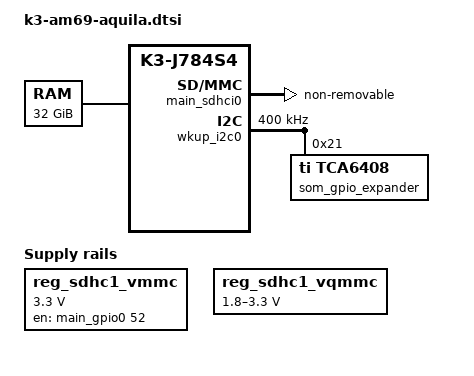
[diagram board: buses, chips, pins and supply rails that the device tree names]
// SPDX-License-Identifier: GPL-2.0-or-later OR MIT
/*
 * Copyright 2024 Toradex
 *
 * Common dtsi for Toradex Aquila AM69 SoM
 *
 * https://www.toradex.com/computer-on-modules/aquila-arm-family/ti-am69
 */

#include <dt-bindings/net/ti-dp83867.h>
#include <dt-bindings/gpio/gpio.h>
#include "k3-j784s4.dtsi"

/ {
	chosen {
		stdout-path = "serial2:115200n8";
	};

	aliases {
		mmc0 = &main_sdhci0;
		mmc1 = &main_sdhci1;
		serial2 = &main_uart8;
	};

	memory@80000000 {
		device_type = "memory";
		/* 32G RAM */
		reg = <0x00 0x80000000 0x00 0x80000000>,
		      <0x08 0x80000000 0x07 0x80000000>;
		bootph-pre-ram;
	};

	reserved_memory: reserved-memory {
		#address-cells = <2>;
		#size-cells = <2>;
		ranges;

		/* global cma region */
		linux,cma {
			compatible = "shared-dma-pool";
			reusable;
			size = <0x00 0x70000000>;
			linux,cma-default;
		};

		secure_ddr: optee@9e800000 {
			reg = <0x00 0x9e800000 0x00 0x01800000>;
			no-map;
		};
	};

	/* Aquila SD_1_PWR_EN */
	reg_sdhc1_vmmc: regulator-sdhci1 {
		compatible = "regulator-fixed";
		pinctrl-names = "default";
		pinctrl-0 = <&pinctrl_sd1_pwr_en>;
		enable-active-high;
		/* Aquila SD_1_PWR_EN (AQUILA A6) */
		gpio = <&main_gpio0 52 GPIO_ACTIVE_HIGH>;
		off-on-delay-us = <100000>;
		regulator-max-microvolt = <3300000>;
		regulator-min-microvolt = <3300000>;
		regulator-name = "+3V3_SD";
		startup-delay-us = <5000>;
	};

	reg_sdhc1_vqmmc: regulator-sdhci1-vqmmc {
		compatible = "regulator-gpio";
		/* SDIO_PWR_SEL_3.3V */
		gpios = <&som_gpio_expander 7 GPIO_ACTIVE_HIGH>;
		regulator-name = "+VDD_SD_DV";
		regulator-min-microvolt = <1800000>;
		regulator-max-microvolt = <3300000>;
		states = <1800000 0x0>,
			 <3300000 0x1>;
	};
};

&main_pmx0 {
	/* Aquila SD_1_PWR_EN */
	pinctrl_sd1_pwr_en: main-gpio0-52-default-pins {
		pinctrl-single,pins = <
			J784S4_IOPAD(0x0d0, PIN_INPUT, 7) /* (AP38) SPI0_CS1.GPIO0_52 */ /* AQUILA A6 */
		>;
	};

	/* Aquila SD_1 */
	pinctrl_main_mmc1: main-mmc1-default-pins {
		pinctrl-single,pins = <
			J784S4_IOPAD(0x104, PIN_INPUT, 0) /* (AB38) MMC1_CLK  */ /* AQUILA A6 */
			J784S4_IOPAD(0x108, PIN_INPUT, 0) /* (AB36) MMC1_CMD  */ /* AQUILA A4 */
			J784S4_IOPAD(0x100, PIN_INPUT, 0) /* (No Pin) MMC1_CLKLB */
			J784S4_IOPAD(0x0fc, PIN_INPUT, 0) /* (AA33) MMC1_DAT0 */ /* AQUILA A8 */
			J784S4_IOPAD(0x0f8, PIN_INPUT, 0) /* (AB34) MMC1_DAT1 */ /* AQUILA A9 */
			J784S4_IOPAD(0x0f4, PIN_INPUT, 0) /* (AA32) MMC1_DAT2 */ /* AQUILA A1 */
			J784S4_IOPAD(0x0f0, PIN_INPUT, 0) /* (AC38) MMC1_DAT3 */ /* AQUILA A3 */
			J784S4_IOPAD(0x0e8, PIN_INPUT_PULLUP, 8) /* (AR38) TIMER_IO0.MMC1_SDCD */ /* AQUILA A10 */
		>;
	};

	/* Aquila UART_3, used as the Linux console */
	pinctrl_main_uart8: main-uart8-default-pins {
		pinctrl-single,pins = <
			J784S4_IOPAD(0x038, PIN_INPUT, 11)  /* (AK35) MCASP0_ACLKX.UART8_RXD */ /* AQUILA D19 */
			J784S4_IOPAD(0x03c, PIN_OUTPUT, 11) /* (AK38) MCASP0_AFSX.UART8_TXD  */ /* AQUILA D20 */
		>;
	};
};

&wkup_pmx2 {
	/* On-module I2C - WKUP_I2C0 */
	pinctrl_wkup_i2c0: wkup-i2c0-default-pins {
		pinctrl-single,pins = <
			J784S4_WKUP_IOPAD(0x098, PIN_INPUT, 0) /* (N33) WKUP_I2C0_SCL */
			J784S4_WKUP_IOPAD(0x09c, PIN_INPUT, 0) /* (N35) WKUP_I2C0_SDA */
		>;
	};
};

&main_gpio0 {
	status = "okay";
};

/* On-module eMMC */
&main_sdhci0 {
	disable-wp;
	no-mmc-hs400; /* TODO: verify the actual status, copied from TI SK AM69 */
	non-removable;
	ti,driver-strength-ohm = <50>;
	status = "okay";
};

/* Aquila SD_1 */
&main_sdhci1 {
	pinctrl-names = "default";
	pinctrl-0 = <&pinctrl_main_mmc1>;
	disable-wp;
	vmmc-supply = <&reg_sdhc1_vmmc>;
	vqmmc-supply = <&reg_sdhc1_vqmmc>;
	ti,driver-strength-ohm = <50>;
	ti,fails-without-test-cd;
	status = "disabled";
};

/* Aquila UART_3, used as the Linux console */
&main_uart8 {
	pinctrl-names = "default";
	pinctrl-0 = <&pinctrl_main_uart8>;
	status = "disabled";
};

&wkup_gpio0 {
	status = "okay";
};

/* On-module I2C - WKUP_I2C0 */
&wkup_i2c0 {
	pinctrl-names = "default";
	pinctrl-0 = <&pinctrl_wkup_i2c0>;
	clock-frequency = <400000>;
	status = "okay";

	som_gpio_expander: gpio@21 {
		compatible = "ti,tca6408";
		reg = <0x21>;
		#gpio-cells = <2>;
		gpio-controller;
		gpio-line-names =
			"USB_MUX_SEL",
			"COLD_RESET_REQ",
			"PWR_DOWN_REQ",
			"PCIE_3_RESET#",
			"PCIE_4_RESET#",
			"WIFI_DISABLE",
			"BT_DISABLE",
			"SDIO_PWR_SEL_3.3V";
	};
};
